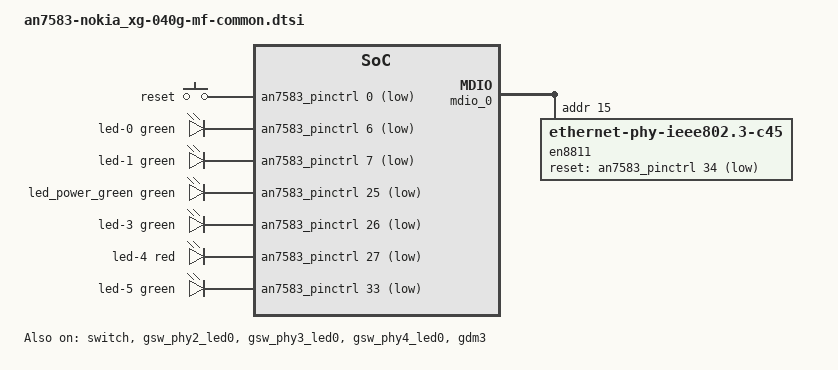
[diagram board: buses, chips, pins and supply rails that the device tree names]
// SPDX-License-Identifier: GPL-2.0-only OR MIT

/dts-v1/;
#include <dt-bindings/leds/common.h>
#include <dt-bindings/gpio/gpio.h>
#include <dt-bindings/input/input.h>
#include "an7583.dtsi"
#include "an758x-nokia_xg-040g-common.dtsi"

/ {
	gpio-keys {
		compatible = "gpio-keys";

		button-0 {
			label = "reset";
			linux,code = <KEY_RESTART>;
			gpios = <&an7583_pinctrl 0 GPIO_ACTIVE_LOW>;
			debounce-interval = <60>;
		};
	};

	leds {
		compatible = "gpio-leds";

		led-0 {
			color = <LED_COLOR_ID_GREEN>;
			function = LED_FUNCTION_WAN;
			gpios = <&an7583_pinctrl 6 GPIO_ACTIVE_LOW>;
		};

		led-1 {
			color = <LED_COLOR_ID_GREEN>;
			function = LED_FUNCTION_WAN_ONLINE;
			gpios = <&an7583_pinctrl 7 GPIO_ACTIVE_LOW>;
		};

		led_power_green: led-2 {
			color = <LED_COLOR_ID_GREEN>;
			function = LED_FUNCTION_POWER;
			gpios = <&an7583_pinctrl 25 GPIO_ACTIVE_LOW>;
			panic-indicator;
		};

		led-3 {
			color = <LED_COLOR_ID_GREEN>;
			function = LED_FUNCTION_USB;
			function-enumerator = <1>;
			gpios = <&an7583_pinctrl 26 GPIO_ACTIVE_LOW>;
			/*
			 * AN7583 SoC doesn't support USB at this time
			 *
			 * linux,default-trigger = "usbport";
			 * trigger-sources = <&usb_port1>;
			 */
		};

		led-4 {
			color = <LED_COLOR_ID_RED>;
			function = LED_FUNCTION_WAN;
			gpios = <&an7583_pinctrl 27 GPIO_ACTIVE_LOW>;
		};

		led-5 {
			color = <LED_COLOR_ID_GREEN>;
			function = LED_FUNCTION_USB;
			function-enumerator = <2>;
			gpios = <&an7583_pinctrl 33 GPIO_ACTIVE_LOW>;
			/*
			 * AN7583 SoC doesn't support USB at this time
			 *
			 * linux,default-trigger = "usbport";
			 * trigger-sources = <&usb_port2>;
			 */
		};
	};

	/*
	 * AN7583 SoC doesn't support USB at this time
	 *
	 * reg_3p3v: regulator-3p3v {
	 * 	compatible = "regulator-fixed";
	 * 	regulator-always-on;
	 * 	regulator-boot-on;
	 * 	regulator-max-microvolt = <3300000>;
	 * 	regulator-min-microvolt = <3300000>;
	 *	regulator-name = "fixed-3.3V";
	 * };
	 *
	 * reg_usb_5v: regulator-usb-5v {
	 * 	compatible = "regulator-fixed";
	 * 	enable-active-high;
	 * 	gpio = <&an7583_pinctrl 30 GPIO_ACTIVE_HIGH>;
	 * 	regulator-boot-on;
	 * 	regulator-max-microvolt = <5000000>;
	 * 	regulator-min-microvolt = <5000000>;
	 * 	regulator-name = "usb-5v";
	 * };
	 *
	 *  *
	 *  * Controls both USB ports at once
	 *  *
	 * usb-power {
	 * 	compatible = "regulator-output";
	 * 	vout-supply = <&reg_usb_5v>;
	 * };
	 */
};

&an7583_pinctrl {
	gpio-ranges = <&an7583_pinctrl 0 2 53>;

	mdio0_pins: mdio0-pins {
		conf {
			pins = "mdio_0";
			output-high;
		};
	};

	pcie0_rst_pins: pcie0-rst-pins {
		conf {
			pins = "pcie_reset0";
			drive-open-drain = <1>;
		};
	};

	pcie1_rst_pins: pcie1-rst-pins {
		conf {
			pins = "pcie_reset1";
			drive-open-drain = <1>;
		};
	};

	gswp1_led0_pins: gswp1-led0-pins {
		mux {
			function = "phy1_led0";
			pins = "gpio1";
		};
	};

	gswp2_led0_pins: gswp2-led0-pins {
		mux {
			function = "phy2_led0";
			pins = "gpio2";
		};
	};

	gswp3_led0_pins: gswp3-led0-pins {
		mux {
			function = "phy3_led0";
			pins = "gpio3";
		};
	};

	gswp4_led0_pins: gswp4-led0-pins {
		mux {
			function = "phy4_led0";
			pins = "gpio4";
		};
	};
};

&mdio_0 {
	/* Airoha EN8811 2.5Gbps phy */
	en8811: ethernet-phy@f {
		compatible = "ethernet-phy-ieee802.3-c45";
		reg = <0xf>;

		reset-gpios = <&an7583_pinctrl 34 GPIO_ACTIVE_LOW>;
		reset-assert-us = <10000>;
		reset-deassert-us = <20000>;

		leds {
			#address-cells = <1>;
			#size-cells = <0>;

			led-0 {
				reg = <0>;
				color = <LED_COLOR_ID_GREEN>;
				function = LED_FUNCTION_LAN;
				function-enumerator = <1>;
				default-state = "keep";
			};
		};
	};
};

&switch {
	status = "okay";

	pinctrl-names = "default";
	pinctrl-0 = <&mdio0_pins>;
};

&gsw_port1 {
	status = "disabled";
};

&gsw_phy1 {
	status = "disabled";
};

&gsw_phy2 {
	interrupts = <2>;

	pinctrl-names = "gbe-led";
	pinctrl-0 = <&gswp2_led0_pins>;
};

&gsw_phy2_led0 {
	status = "okay";

	color = <LED_COLOR_ID_GREEN>;
	active-low;
};

&gsw_phy3 {
	interrupts = <3>;

	pinctrl-names = "gbe-led";
	pinctrl-0 = <&gswp3_led0_pins>;
};

&gsw_phy3_led0 {
	status = "okay";

	color = <LED_COLOR_ID_GREEN>;
	active-low;
};

&gsw_phy4 {
	interrupts = <4>;

	pinctrl-names = "gbe-led";
	pinctrl-0 = <&gswp4_led0_pins>;
};

&gsw_phy4_led0 {
	status = "okay";

	color = <LED_COLOR_ID_GREEN>;
	active-low;
};

&gdm3 {
	status = "okay";

	openwrt,netdev-name = "lan1";

	phy-handle = <&en8811>;
	phy-mode = "2500base-x";

	nvmem-cell-names = "mac-address";
	nvmem-cells = <&macaddr_factory_3e (0)>;
};

/*
 * AN7583 SoC doesn't support USB at this time
 *
 * &usb0 {
 * 	status = "okay";
 * 	#address-cells = <1>;
 * 	#size-cells = <0>;
 *
 * 	vusb33-supply = <&reg_3p3v>;
 *
 * 	usb_port1: port@1 {
 * 		reg = <1>;
 * 		#trigger-source-cells = <0>;
 * 	};
 *
 * 	usb_port2: port@2 {
 * 		reg = <2>;
 * 		#trigger-source-cells = <0>;
 * 	};
 * };
 */
